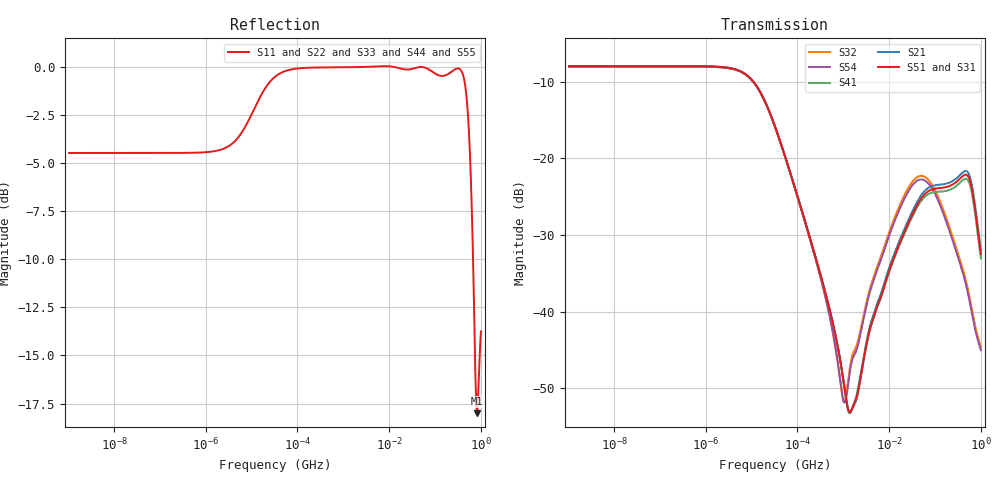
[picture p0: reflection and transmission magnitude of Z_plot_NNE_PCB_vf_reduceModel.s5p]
! Created Tue Feb 13 11:45:42 2024
# hz S ma R 0.1
! Modal data exported
! Port[1] = pkg_bga
! Port[2] = pcbCap_C701
! Port[3] = pcbCap_C702
! Port[4] = pcbCap_C703
! Port[5] = pcbCap_C704
! 5 Port Network Data from SP1.SP block
! freq  magS11  angS11  magS12  angS12  magS13  angS13  magS14  angS14
!  magS15  angS15
!  magS21  angS21  magS22  angS22  magS23  angS23
!  magS24  angS24  magS25  angS25
!  magS31  angS31  magS32  angS32
!  magS33  angS33  magS34  angS34  magS35  angS35
!  magS41  angS41
!  magS42  angS42  magS43  angS43  magS44  angS44  magS45  angS45
!  magS51  angS51  magS52  angS52  magS53  angS53  magS54  angS54
!  magS55  angS55
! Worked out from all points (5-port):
!   450 points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, 1.047 Hz to 1 GHz, reference 0.1 ohm
!   strongest paths, dB at 1.047 Hz, 182 Hz, 33.11 kHz, 5.754 MHz, 1 GHz:
!     S51: -8.0, -8.0, -16.0, -38.9, -32.5
!     S21: -8.0, -8.0, -16.0, -38.6, -31.9
!     S41: -8.0, -8.0, -16.0, -39.1, -33.0
!     S31: -8.0, -8.0, -16.0, -39.0, -32.8
!     S54: -8.0, -8.0, -16.0, -34.2, -45.0
!     S32: -8.0, -8.0, -16.0, -33.8, -44.6
!   lowest |S11| = -18.0 dB at 831.8 MHz (marker M1), VSWR 1.29, Z = 0.0935 - j0.0236 ohm
!   |S11| at or under -10 dB: 674.4 MHz to end of sweep
